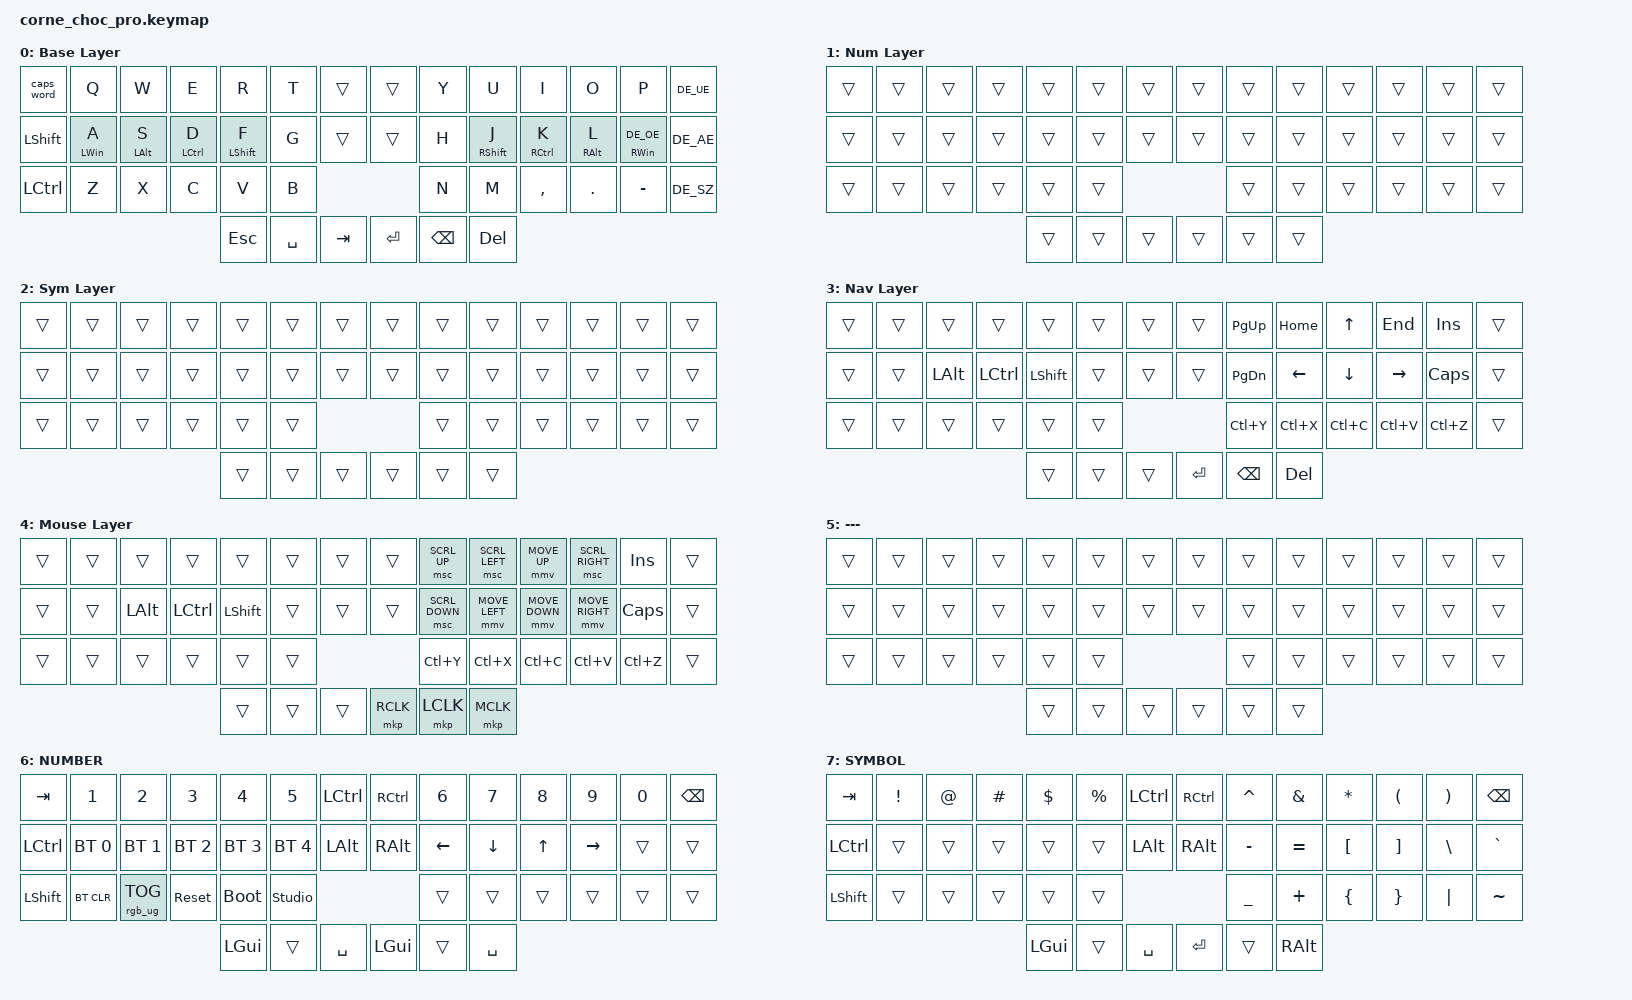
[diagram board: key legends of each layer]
/*
 * Copyright (c) 2020 The ZMK Contributors
 *
 * SPDX-License-Identifier: MIT
 */

#include <behaviors.dtsi>
#include <dt-bindings/zmk/keys.h>
#include <dt-bindings/zmk/bt.h>
#include <dt-bindings/zmk/rgb.h>
#include <dt-bindings/zmk/behaviors.h>
#include <dt-bindings/zmk/pointing.h>


#include "lang_de.h"

#include "custom_behaviors.dtsi"



#define QWERTY 0


/ {
    chosen {
        zmk,physical-layout = &default_layout;
    };
};

/ {
    keymap {
        compatible = "zmk,keymap";

        default_layer {
            display-name = "Base Layer";

            // ----------------------------------------------------------------------------------------------------------
            // | Caps Word |  Q  |  W  |  E  |  R  |  T  |  -  |          |  -  |  Z  |  U  |  I   |  O   |  P   |  Ü   |
            // | SHIFT     |  A  |  S  |  D  |  F  |  G  |  -  |          |  -  |  H  |  J  |  K   |  L   |  Ö   |  Ä   |
            //               WIN   ALT   CTRL  SHFT                                     SHFT  CTRL   ALT    WIN
            // | CTRL      |  Y  |  X  |  C  |  V  |  B  |                      |  N  |  M  |  ,;  |  .:  |  -_  |  ß?  |
            //
            //                       |  ESC  |  SPACE  |  TAB  |          |  RET  |  BSPC  |  DEL  |
            // ----------------------------------------------------------------------------------------------------------


            bindings = <
                &caps_word  &kp Q        &kp W        &kp E         &kp R         &kp T  &trans          &trans  &kp Y  &kp U         &kp I         &kp O        &kp P            &kp DE_UE
                &kp LSHFT   &hml LWIN A  &hml LALT S  &hml LCTRL D  &hml LSHFT F  &kp G  &trans          &trans  &kp H  &hmr RSHFT J  &hmr RCTRL K  &hmr RALT L  &hmr RWIN DE_OE  &kp DE_AE
                &kp LCTRL   &kp Z        &kp X        &kp C         &kp V         &kp B                          &kp N  &kp M         &kp COMMA     &kp DOT      &kp MINUS        &kp DE_SZ

                                                                    &kp ESC  &kp SPACE  &kp TAB          &kp RET  &kp BSPC  &kp DEL
            >;

        };


        num_layer {
            display-name = "Num Layer";

            // ----------------------------------------------------------------------------------------------------------
            // |  -  |  -  |  7  |  8  |  9  |  -  |  -  |          |  -  |  -  |  -      |  -     |  -    |  -      |  -  |
            // |  -  |  -  |  4  |  5  |  6  |  -  |  -  |          |  -  |  -  |  SHIFT  |  CTRL  |  ALT  |  SUPER  |  -  |
            // |  -  |  -  |  1  |  2  |  3  |  -  |                      |  -  |  -      |  -     |  -    |  -      |  -  |
            //
            //                         |  -  |  -  |  -  |          |  -  |  -  |  -  |
            // ----------------------------------------------------------------------------------------------------------


            bindings = <

                &trans  &trans  &trans  &trans  &trans  &trans  &trans          &trans  &trans  &trans  &trans  &trans  &trans  &trans
                &trans  &trans  &trans  &trans  &trans  &trans  &trans          &trans  &trans  &trans  &trans  &trans  &trans  &trans
                &trans  &trans  &trans  &trans  &trans  &trans                          &trans  &trans  &trans  &trans  &trans  &trans

                                                &trans  &trans  &trans          &trans  &trans  &trans
            >;

        };     


        sym_layer {
            display-name = "Sym Layer";

            // ----------------------------------------------------------------------------------------------------------
            // |  -  |  -  |  -  |  -  |  -  |  -  |  -  |          |  -  |  -  |  -      |  -     |  -    |  -      |  -  |
            // |  -  |  -  |  -  |  -  |  -  |  -  |  -  |          |  -  |  -  |  SHIFT  |  CTRL  |  ALT  |  SUPER  |  -  |
            // |  -  |  -  |  -  |  -  |  -  |  -  |                      |  -  |  -      |  -     |  -    |  -      |  -  |
            //
            //                         |  -  |  -  |  -  |          |  -  |  -  |  -  |
            // ----------------------------------------------------------------------------------------------------------


            bindings = <

                &trans  &trans  &trans  &trans  &trans  &trans  &trans          &trans  &trans  &trans  &trans  &trans  &trans  &trans
                &trans  &trans  &trans  &trans  &trans  &trans  &trans          &trans  &trans  &trans  &trans  &trans  &trans  &trans
                &trans  &trans  &trans  &trans  &trans  &trans                          &trans  &trans  &trans  &trans  &trans  &trans

                                                &trans  &trans  &trans          &trans  &trans  &trans
            >;

        };  


        nav_layer {
            display-name = "Nav Layer";

            // ---------------------------------------------------------------------------------------------------------------------------------------
            // |  -  |  -      |  -    |  -     |  -      |  -  |  -  |          |  -    |  PAGE_UP  |  HOME  |  UP    |  END    |  INSERT     |  -  |
            // |  -  |  SUPER  |  ALT  |  CTRL  |  SHIFT  |  -  |  -  |          |  -    |  PAGE_DN  |  LEFT  |  DOWN  |  RIGHT  |  CAPS LOCK  |  -  |
            // |  -  |  -      |  -    |  -     |  -      |  -  |                        |  UNDO     |  CUT   |  COPY  |  PASTE  |  REDO       |  -  |
            //
            //                                  |  -      |  -  |  -  |          |  RET  |  BSPC     |  DEL   |
            // ---------------------------------------------------------------------------------------------------------------------------------------


            bindings = <
 
                &trans  &trans  &trans    &trans     &trans     &trans  &trans          &trans  &kp PG_UP  &kp HOME   &kp UP     &kp END    &kp INS    &trans
                &trans  &trans  &kp LALT  &kp LCTRL  &kp LSHFT  &trans  &trans          &trans  &kp PG_DN  &kp LEFT   &kp DOWN   &kp RIGHT  &kp CAPS   &trans
                &trans  &trans  &trans    &trans     &trans     &trans                          &kp LC(Y)  &kp LC(X)  &kp LC(C)  &kp LC(V)  &kp LC(Z)  &trans

                                                        &trans  &trans  &trans          &kp RET  &kp BSPC  &kp DEL
            >;

        };


        mouse_layer {
            display-name = "Mouse Layer";

            // ---------------------------------------------------------------------------------------------------------------------------------------------------
            // |  -  |  -      |  -    |  -     |  -      |  -  |  -  |          |  -    |  SCRL_UP    |  SCRL_LEFT  |  UP    |  SCRL_RIGHT  |  INSERT     |  -  |
            // |  -  |  SUPER  |  ALT  |  CTRL  |  SHIFT  |  -  |  -  |          |  -    |  SCRL_DOWN  |  LEFT       |  DOWN  |  RIGHT       |  CAPS LOCK  |  -  |
            // |  -  |  -      |  -    |  -     |  -      |  -  |                        |  UNDO       |  CUT        |  COPY  |  PASTE       |  REDO       |  -  |
            //
            //                                  |  -      |  -  |  -  |          |  RIGHT  |  LEFT  |  MIDDLE  |
            // ---------------------------------------------------------------------------------------------------------------------------------------------------


            bindings = <
 
                &trans  &trans  &trans    &trans     &trans     &trans  &trans          &trans  &msc SCRL_UP    &msc SCRL_LEFT   &mmv MOVE_UP     &msc SCRL_RIGHT  &kp INS    &trans
                &trans  &trans  &kp LALT  &kp LCTRL  &kp LSHFT  &trans  &trans          &trans  &msc SCRL_DOWN  &mmv MOVE_LEFT   &mmv MOVE_DOWN   &mmv MOVE_RIGHT  &kp CAPS   &trans
                &trans  &trans  &trans    &trans     &trans     &trans                          &kp LC(Y)       &kp LC(X)        &kp LC(C)        &kp LC(V)        &kp LC(Z)  &trans

                                                        &trans  &trans  &trans          &mkp RCLK  &mkp LCLK  &mkp MCLK
            >;

        };        


        extra_layer_1 {
            display-name = "---";

            // ----------------------------------------------------------------------------------------------------------
            // |  -  |  -  |  -  |  -  |  -  |  -  |  -  |          |  -  |  -  |  -  |  -  |  -  |  -  |  -  |
            // |  -  |  -  |  -  |  -  |  -  |  -  |  -  |          |  -  |  -  |  -  |  -  |  -  |  -  |  -  |
            // |  -  |  -  |  -  |  -  |  -  |  -  |                      |  -  |  -  |  -  |  -  |  -  |  -  |
            //
            //                         |  -  |  -  |  -  |          |  -  |  -  |  -  |
            // ----------------------------------------------------------------------------------------------------------


            bindings = <

                &trans  &trans  &trans  &trans  &trans  &trans  &trans          &trans  &trans  &trans  &trans  &trans  &trans  &trans
                &trans  &trans  &trans  &trans  &trans  &trans  &trans          &trans  &trans  &trans  &trans  &trans  &trans  &trans
                &trans  &trans  &trans  &trans  &trans  &trans                          &trans  &trans  &trans  &trans  &trans  &trans

                                                &trans  &trans  &trans          &trans  &trans  &trans
            >;

        };



        lower_layer {
            display-name = "NUMBER";
            // -----------------------------------------------------------------------------------------
            // |  TAB |  1  |  2  |  3  |  4  |  5    |  LCTRL | RCTRL |  6  |  7  |  8  |  9  |  0  | BSPC |
            // | CTRL | BT1 | BT2 | BT3 | BT4 | BT5   |  LALT  | RALT  | LFT | DWN |  UP | RGT |     |      |
            // | SHFT | BTCR| RGB | RST | BOOT| Unlock|        |       |     |     |     |     |     |      |
            //                    | GUI |     | SPC   |        | ENT   |     | ALT |
            bindings = <
                &kp TAB   &kp N1       &kp N2          &kp N3       &kp N4       &kp N5       &kp LCTRL &kp RCTRL &kp N6   &kp N7   &kp N8 &kp N9    &kp N0 &kp BSPC
                &kp LCTRL &bt BT_SEL 0 &bt BT_SEL 1    &bt BT_SEL 2 &bt BT_SEL 3 &bt BT_SEL 4 &kp LALT  &kp RALT  &kp LEFT &kp DOWN &kp UP &kp RIGHT &trans &trans
                &kp LSHFT &bt BT_CLR   &rgb_ug RGB_TOG &sys_reset   &bootloader  &studio_unlock                   &trans   &trans   &trans &trans    &trans &trans
                                                       &kp LGUI     &trans       &kp SPACE                        &kp LGUI &trans   &kp SPACE
            >;
        };


        raise_layer {
            display-name = "SYMBOL";
            // -----------------------------------------------------------------------------------------
            // |  TAB |  !  |  @  |  #  |  $  |  %  | LCTRL | RCTRL |  ^  |  &  |  *  |  (  |  )  | BSPC |
            // | CTRL |     |     |     |     |     |  LALT | RALT  |  -  |  =  |  [  |  ]  |  \  |  `   |
            // | SHFT |     |     |     |     |     |               |  _  |  +  |  {  |  }  | "|" |  ~   |
            //                    | GUI |     | SPC |               | ENT |     | ALT |
            bindings = <
                &kp  TAB  &kp EXCL &kp AT &kp HASH &kp DLLR &kp PRCNT &kp LCTRL &kp RCTRL &kp CARET &kp AMPS &kp ASTRK &kp LPAR &kp RPAR &kp BSPC
                &kp LCTRL &trans   &trans &trans   &trans   &trans    &kp LALT  &kp RALT  &kp MINUS &kp EQUAL &kp LBKT &kp RBKT &kp BSLH &kp GRAVE
                &kp LSHFT &trans   &trans &trans   &trans   &trans                        &kp UNDER &kp PLUS  &kp LBRC &kp RBRC &kp PIPE &kp TILDE
                                          &kp LGUI &trans   &kp SPACE                     &kp RET   &trans    &kp RALT
            >;
        };



    };
};
